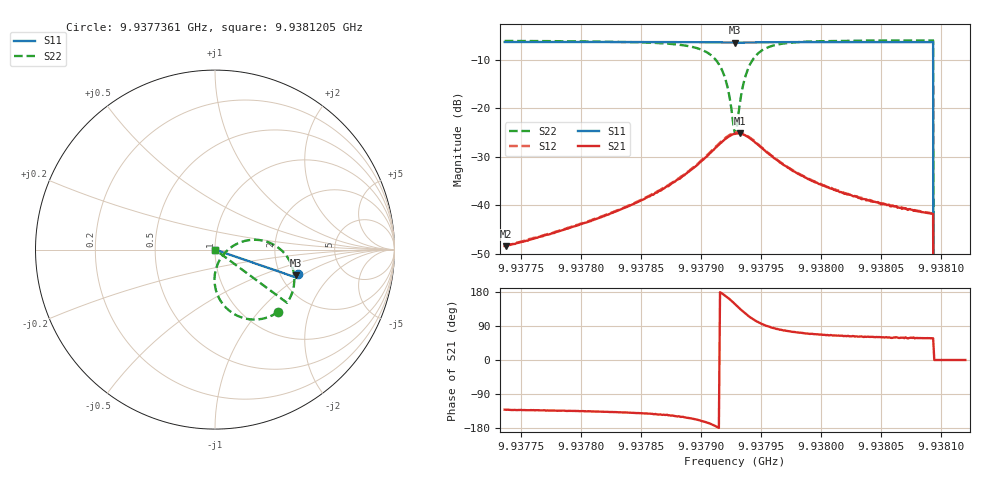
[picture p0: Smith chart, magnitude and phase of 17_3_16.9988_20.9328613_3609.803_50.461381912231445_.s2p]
#  HZ  S  RI  R  50.00
! Rohde & Schwarz Vector Network Analyzer
! Rohde-Schwarz,ZNB20-2Port,1311601062101988,3.16
! Created: UTC 3/20/2024, 10:52:50 PM
! freq[Hz]  re:S11  im:S11  re:S21  im:S21  re:S12  im:S12  re:S22  im:S22
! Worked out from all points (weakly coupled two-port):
!   401 points, 9.9377361 GHz to 9.9381205 GHz, reference 50 ohm
!   highest |S21| = -25.21 dB at 9.9379321 GHz (marker M1); lowest = -48.5 dB at 9.937737 GHz (marker M2)
!   lowest |S11| = -6.5 dB at 9.9379283 GHz (marker M3), VSWR 2.80, Z = 121 - j44.8 ohm
!   |S11| at or under -10 dB: 9.9380936 GHz to end of sweep
!   |S22| runs from - to -6.0 dB; largest |S21 - S12| = 0.0021
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9.93773608e9  0.4623 -0.1343  -0.00248 -0.00285  -0.00254 -0.00282  0.3511 -0.3465
9.93773704e9  0.4624 -0.1345  -0.00249 -0.00283  -0.00256 -0.00282  0.3511 -0.3465
9.93780046e9  0.4606 -0.1387  -0.0045 -0.00454  -0.00463 -0.00451  0.3298 -0.3603
9.93786485e9  0.4582 -0.1436  -0.0113 -0.00821  -0.0115 -0.00818  0.2684 -0.3844
9.93789464e9  0.4563 -0.146  -0.0225 -0.01  -0.0232 -0.00992  0.1734 -0.385
9.93791097e9  0.4539 -0.1468  -0.0375 -0.00453  -0.0383 -0.00417  0.0598 -0.3222
9.93791674e9  0.4528 -0.1465  -0.044 0.00218  -0.0451 0.00313  0.0161 -0.2568
9.93792058e9  0.4522 -0.146  -0.0475 0.00967  -0.0485 0.0109  -0.0012 -0.1925
9.93792347e9  0.452 -0.1454  -0.0485 0.0164  -0.0494 0.0181  -0.000451 -0.1353
9.93792731e9  0.4517 -0.1443  -0.047 0.0268  -0.0475 0.0286  0.0276 -0.0555
9.93792827e9  0.4516 -0.1441  -0.046 0.0291  -0.0464 0.0309  0.0396 -0.037
9.93793019e9  0.4519 -0.1435  -0.0432 0.0339  -0.0432 0.036  0.0691 -0.00382
9.93793211e9  0.4522 -0.1432  -0.0395 0.0381  -0.0394 0.0398  0.1047 0.0229
9.937935e9  0.4529 -0.1426  -0.0328 0.0424  -0.0324 0.0442  0.1648 0.048
9.93793788e9  0.4536 -0.1424  -0.0259 0.0445  -0.025 0.0461  0.2241 0.0549
9.93794749e9  0.4557 -0.1429  -0.00734 0.0412  -0.00621 0.042  0.3667 -0.000549
9.93796286e9  0.4568 -0.1451  0.00408 0.0291  0.00461 0.0293  0.4357 -0.1144
9.93799265e9  0.4566 -0.1485  0.00627 0.0166  0.00684 0.0166  0.4365 -0.2177
9.93805704e9  0.455 -0.1537  0.00499 0.00856  0.00523 0.00862  0.4106 -0.282
9.93809163e9  0.454 -0.156  0.00441 0.00688  0.00455 0.0069  0.4019 -0.2958
9.93809644e9  0 0  0 0  0 0  0 0
9.93812046e9  0 0  0 0  0 0  0 0
